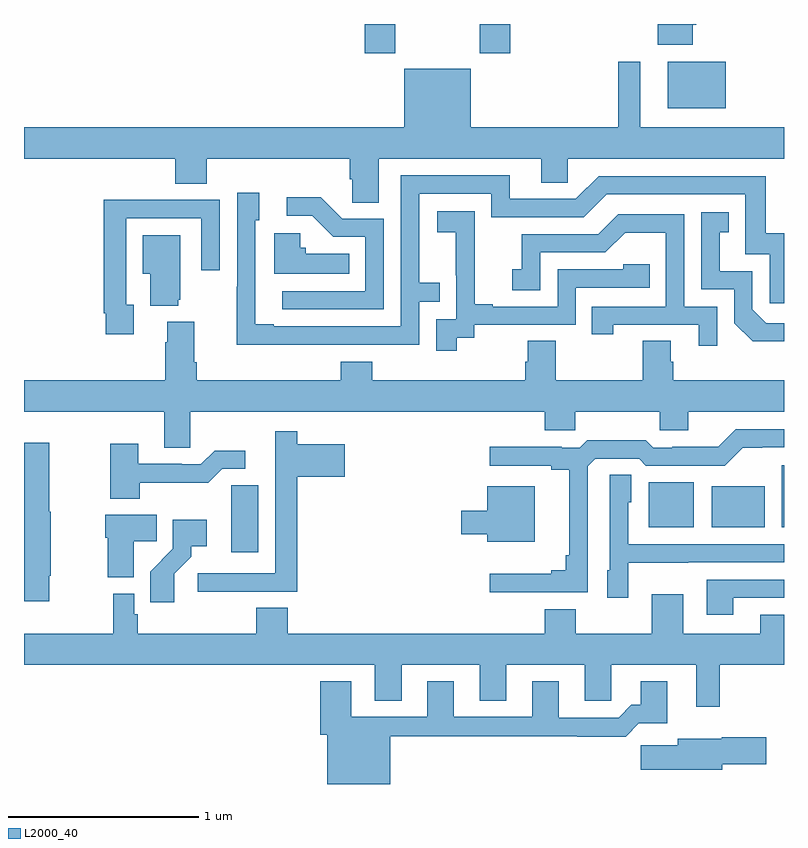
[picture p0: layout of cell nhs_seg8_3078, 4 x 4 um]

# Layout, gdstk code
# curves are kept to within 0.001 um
import gdstk
lib = gdstk.Library(unit=1e-6, precision=1e-09)
def R(c, l, rs):  # rectangles x0, y0, x1, y1
    for r in rs: c.add(gdstk.rectangle(r[:2], r[2:], *l))
def P(c, l, *ps):  # polygons
    for p in ps: c.add(gdstk.Polygon(p, *l))
L2000_40 = (2000, 40)

nhs_seg8_3078 = lib.new_cell('nhs_seg8_3078')
R(nhs_seg8_3078, L2000_40, [(306.287,1089.251,306.526,1089.487), (306.62,1089.251,306.898,1089.466), (306.987,1089.252,307,1089.577), (306.389,1091.456,306.694,1091.701), (304.793,1091.745,304.953,1091.9), (305.398,1091.745,305.558,1091.9)])
P(nhs_seg8_3078, L2000_40, [(306.519,1091.896),(306.539,1091.896),(306.539,1091.9),(306.336,1091.9),(306.336,1091.792),(306.519,1091.792)],
  [(307,1091.356),(306.244,1091.356),(306.244,1091.701),(306.127,1091.701),(306.127,1091.356),(305.35,1091.356),(305.35,1091.665),(305,1091.665),(305,1091.356),(303,1091.356),(303,1091.192),(303.797,1091.192),(303.797,1091.059),(303.962,1091.059),(303.962,1091.192),(304.715,1091.192),(304.715,1091.083),(304.728,1091.083),(304.728,1090.96),(304.867,1090.96),(304.867,1091.192),(305.723,1091.192),(305.723,1091.065),(305.862,1091.065),(305.862,1091.192),(307,1091.192)],
  [(304.583,1090.212),(305.079,1090.212),(305.079,1090.437),(305.189,1090.437),(305.189,1090.538),(305.079,1090.538),(305.079,1091.007),(305.46,1091.007),(305.46,1090.884),(305.946,1090.884),(306.066,1091.004),(306.795,1091.004),(306.795,1090.689),(306.924,1090.689),(306.924,1090.431),(307,1090.431),(307,1090.798),(306.904,1090.798),(306.904,1091.1),(306.024,1091.1),(305.904,1090.98),(305.557,1090.98),(305.557,1091.103),(304.983,1091.103),(304.983,1090.308),(304.315,1090.308),(304.315,1090.321),(304.218,1090.321),(304.218,1090.866),(304.237,1090.866),(304.237,1091.011),(304.122,1091.011),(304.122,1090.517),(304.12,1090.517),(304.12,1090.211)],
  [(304.893,1090.875),(304.674,1090.875),(304.561,1090.988),(304.383,1090.988),(304.383,1090.89),(304.517,1090.89),(304.628,1090.779),(304.797,1090.779),(304.797,1090.494),(304.359,1090.494),(304.359,1090.398),(304.893,1090.398)],
  [(303.577,1090.422),(303.537,1090.422),(303.537,1090.878),(303.933,1090.878),(303.933,1090.605),(304.029,1090.605),(304.029,1090.974),(303.713,1090.974),(303.713,1090.976),(303.421,1090.976),(303.421,1090.378),(303.429,1090.378),(303.429,1090.266),(303.577,1090.266)],
  [(305.278,1090.249),(305.37,1090.249),(305.37,1090.317),(305.904,1090.317),(305.904,1090.512),(306.293,1090.512),(306.293,1090.635),(306.153,1090.635),(306.153,1090.608),(305.808,1090.608),(305.808,1090.413),(305.467,1090.413),(305.467,1090.426),(305.372,1090.426),(305.372,1090.709),(305.373,1090.709),(305.373,1090.915),(305.175,1090.915),(305.175,1090.805),(305.273,1090.805),(305.273,1090.577),(305.274,1090.577),(305.274,1090.347),(305.169,1090.347),(305.169,1090.179),(305.278,1090.179)],
  [(307,1090.326),(306.906,1090.326),(306.834,1090.398),(306.834,1090.599),(306.661,1090.599),(306.661,1090.803),(306.71,1090.803),(306.71,1090.909),(306.564,1090.909),(306.564,1090.503),(306.738,1090.503),(306.738,1090.326),(306.836,1090.229),(307,1090.229)],
  [(306.648,1090.413),(306.474,1090.413),(306.474,1090.899),(306.128,1090.899),(306.023,1090.794),(305.62,1090.794),(305.62,1090.609),(305.571,1090.609),(305.571,1090.5),(305.718,1090.5),(305.718,1090.698),(306.06,1090.698),(306.164,1090.802),(306.378,1090.802),(306.378,1090.413),(305.989,1090.413),(305.989,1090.266),(306.1,1090.266),(306.1,1090.317),(306.551,1090.317),(306.551,1090.206),(306.648,1090.206)],
  [(304.712,1090.69),(304.482,1090.69),(304.482,1090.722),(304.455,1090.722),(304.455,1090.798),(304.316,1090.798),(304.316,1090.586),(304.712,1090.586)],
  [(303.812,1090.449),(303.823,1090.449),(303.823,1090.789),(303.626,1090.789),(303.626,1090.586),(303.665,1090.586),(303.665,1090.418),(303.812,1090.418)],
  [(303.876,1089.86),(305.741,1089.86),(305.741,1089.762),(305.901,1089.762),(305.901,1089.86),(306.346,1089.86),(306.346,1089.762),(306.496,1089.762),(306.496,1089.86),(307,1089.86),(307,1090.024),(306.416,1090.024),(306.416,1090.122),(306.403,1090.122),(306.403,1090.232),(306.256,1090.232),(306.256,1090.024),(305.799,1090.024),(305.799,1090.232),(305.651,1090.232),(305.651,1090.122),(305.639,1090.122),(305.639,1090.024),(304.832,1090.024),(304.832,1090.123),(304.667,1090.123),(304.667,1090.024),(303.908,1090.024),(303.908,1090.12),(303.895,1090.12),(303.895,1090.333),(303.755,1090.333),(303.755,1090.226),(303.743,1090.226),(303.743,1090.024),(303,1090.024),(303,1089.86),(303.737,1089.86),(303.737,1089.67),(303.876,1089.67)],
  [(305.967,1089.573),(306.006,1089.612),(306.237,1089.612),(306.273,1089.576),(306.687,1089.576),(306.782,1089.671),(307,1089.672),(307,1089.768),(306.747,1089.768),(306.653,1089.674),(306.412,1089.674),(306.412,1089.669),(306.312,1089.669),(306.273,1089.709),(305.965,1089.709),(305.925,1089.669),(305.831,1089.669),(305.831,1089.674),(305.451,1089.674),(305.451,1089.576),(305.774,1089.576),(305.774,1089.554),(305.87,1089.554),(305.87,1089.103),(305.851,1089.103),(305.851,1089.026),(305.774,1089.026),(305.774,1089.007),(305.451,1089.007),(305.451,1088.91),(305.967,1088.91)],
  [(304.139,1088.913),(304.439,1088.913),(304.439,1089.518),(304.687,1089.518),(304.687,1089.688),(304.439,1089.688),(304.439,1089.757),(304.322,1089.757),(304.322,1089.534),(304.323,1089.534),(304.323,1089.009),(303.915,1089.009),(303.915,1088.911),(304.139,1088.911)],
  [(303.132,1088.997),(303.142,1088.997),(303.142,1089.333),(303.132,1089.333),(303.132,1089.697),(303,1089.697),(303,1088.862),(303.132,1088.862)],
  [(303.609,1089.486),(303.971,1089.485),(304.044,1089.558),(304.165,1089.558),(304.165,1089.655),(304.003,1089.655),(303.93,1089.582),(303.83,1089.582),(303.83,1089.585),(303.601,1089.585),(303.601,1089.691),(303.454,1089.691),(303.454,1089.401),(303.609,1089.401)],
  [(306.18,1089.065),(306.497,1089.065),(306.497,1089.066),(307,1089.066),(307,1089.162),(306.18,1089.162),(306.18,1089.384),(306.196,1089.384),(306.196,1089.527),(306.084,1089.527),(306.084,1089.024),(306.071,1089.024),(306.071,1088.88),(306.18,1088.88)],
  [(304.234,1089.473),(304.092,1089.473),(304.092,1089.362),(304.091,1089.362),(304.091,1089.12),(304.234,1089.12)],
  [(305.689,1089.466),(305.438,1089.466),(305.438,1089.337),(305.301,1089.337),(305.301,1089.215),(305.438,1089.215),(305.438,1089.176),(305.689,1089.176)],
  [(303.577,1089.178),(303.698,1089.178),(303.698,1089.316),(303.428,1089.316),(303.428,1089.195),(303.44,1089.195),(303.44,1088.987),(303.577,1088.987)],
  [(303.79,1089.007),(303.88,1089.097),(303.88,1089.152),(303.961,1089.152),(303.961,1089.292),(303.783,1089.292),(303.783,1089.137),(303.664,1089.018),(303.664,1088.856),(303.79,1088.856)],
  [(306.733,1088.88),(307,1088.88),(307,1088.976),(306.593,1088.976),(306.593,1088.79),(306.733,1088.79)],
  [(304.388,1088.828),(304.223,1088.828),(304.223,1088.692),(303.599,1088.692),(303.599,1088.793),(303.579,1088.793),(303.579,1088.902),(303.471,1088.902),(303.471,1088.692),(303,1088.692),(303,1088.528),(304.847,1088.528),(304.847,1088.338),(304.987,1088.338),(304.987,1088.528),(305.399,1088.528),(305.399,1088.338),(305.539,1088.338),(305.539,1088.528),(305.951,1088.528),(305.951,1088.338),(306.09,1088.338),(306.09,1088.528),(306.539,1088.528),(306.539,1088.307),(306.661,1088.307),(306.661,1088.528),(307,1088.528),(307,1088.791),(306.875,1088.791),(306.875,1088.692),(306.469,1088.692),(306.469,1088.899),(306.305,1088.899),(306.305,1088.692),(305.905,1088.692),(305.905,1088.821),(305.741,1088.821),(305.741,1088.692),(304.388,1088.692)],
  [(304.927,1088.152),(305.911,1088.152),(305.911,1088.15),(306.167,1088.15),(306.236,1088.219),(306.385,1088.219),(306.385,1088.44),(306.245,1088.44),(306.245,1088.317),(306.196,1088.317),(306.129,1088.25),(305.815,1088.25),(305.815,1088.44),(305.675,1088.44),(305.675,1088.253),(305.263,1088.253),(305.263,1088.44),(305.123,1088.44),(305.123,1088.253),(304.723,1088.253),(304.723,1088.44),(304.559,1088.44),(304.559,1088.16),(304.595,1088.16),(304.595,1087.9),(304.927,1087.9)],
  [(306.676,1088.003),(306.907,1088.003),(306.907,1088.145),(306.672,1088.145),(306.672,1088.137),(306.44,1088.137),(306.44,1088.105),(306.246,1088.105),(306.246,1087.976),(306.676,1087.976)])

lib.write_gds('nhs_seg8_3078.gds')
